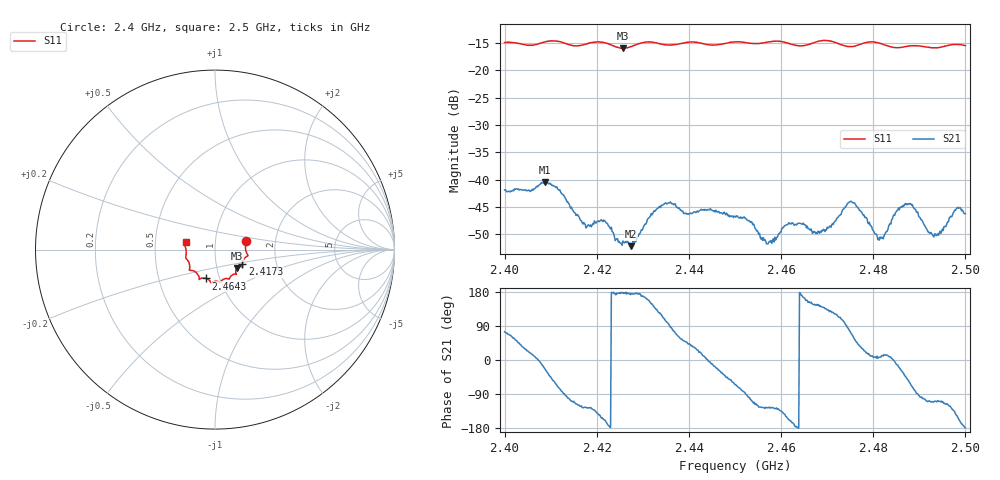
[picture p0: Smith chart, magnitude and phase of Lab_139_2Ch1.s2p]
# Hz S RI R 50
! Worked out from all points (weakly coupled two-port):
!   601 points, 2.4 GHz to 2.5 GHz, reference 50 ohm
!   highest |S21| = -40.48 dB at 2.4088 GHz (marker M1); lowest = -52.2 dB at 2.4273 GHz (marker M2)
!   lowest |S11| = -15.9 dB at 2.4257 GHz (marker M3), VSWR 1.38, Z = 62.4 - j13.1 ohm
!   |S11| at or under -10 dB: start of sweep to end of sweep
!   S12 and S22 are empty: the file has one direction only
!   S11 on the Smith chart (normalised r, x): 2.4 GHz: 1.41, +0.14; 2.4173 GHz: 1.34, -0.23; 2.4643 GHz: 0.86, -0.28; 2.5 GHz: 0.72, +0.06
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2.4e9  0.1735 0.0495  0.00214 0.00776  0 0  0 0
2.408833e9  0.181 -0.0272  0.00857 -0.004  0 0  0 0
2.411667e9  0.1815 -0.0355  0.00252 -0.00771  0 0  0 0
2.416667e9  0.1529 -0.0748  -0.00216 -0.00359  0 0  0 0
2.417333e9  0.1524 -0.0821  -0.00226 -0.00325  0 0  0 0
2.4215e9  0.1533 -0.0953  -0.00394 -0.00163  0 0  0 0
2.425667e9  0.1226 -0.1024  -0.00274 8.95e-05  0 0  0 0
2.427333e9  0.1156 -0.1174  -0.00244 0.000323  0 0  0 0
2.433333e9  0.1127 -0.1367  -0.00328 0.00441  0 0  0 0
2.45e9  0.0298 -0.1806  0.00195 -0.00418  0 0  0 0
2.457167e9  -0.0146 -0.1816  -0.0015 -0.0021  0 0  0 0
2.461167e9  -0.0262 -0.1776  -0.00334 -0.00193  0 0  0 0
2.464333e9  -0.0503 -0.1604  -0.00391 0.000587  0 0  0 0
2.466667e9  -0.0762 -0.1598  -0.00292 0.00171  0 0  0 0
2.47e9  -0.0876 -0.1664  -0.00246 0.00272  0 0  0 0
2.475e9  -0.1065 -0.1264  0.00167 0.00607  0 0  0 0
2.481167e9  -0.1423 -0.1083  0.00288 0.000368  0 0  0 0
2.483333e9  -0.1408 -0.0895  0.00367 0.000637  0 0  0 0
2.487333e9  -0.1573 -0.0544  0.00395 -0.00454  0 0  0 0
2.493333e9  -0.1609 -0.0097  -0.001 -0.00302  0 0  0 0
2.498167e9  -0.1703 0.0321  -0.00461 -0.003  0 0  0 0
2.5e9  -0.1637 0.0419  -0.00487 -0.000109  0 0  0 0
